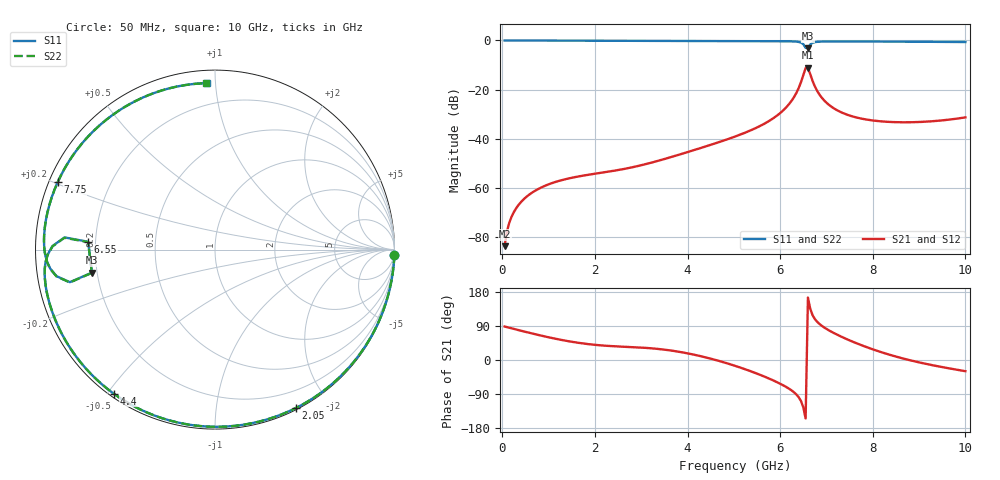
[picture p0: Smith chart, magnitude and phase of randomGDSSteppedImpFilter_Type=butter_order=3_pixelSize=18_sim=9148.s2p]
! freq	dB(S11)	phase(S11)	dB(S12)	phase(S12)
!  dB(S21)	phase(S21)	dB(S22)	phase(S22)
!S-par simulation data
#  GHz  S  DB  R 50
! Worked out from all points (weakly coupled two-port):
!   200 points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, 50 MHz to 10 GHz, reference 50 ohm
!   highest |S21| = -11.15 dB at 6.6 GHz (marker M1); lowest = -83.8 dB at 50 MHz (marker M2)
!   lowest |S11| = -3.1 dB at 6.6 GHz (marker M3), VSWR 5.62, Z = 8.98 - j4.49 ohm
!   |S11| at or under -10 dB: nowhere
!   |S22| runs from -3.1 to 0.0 dB; largest |S21 - S12| = 0
!   S11 on the Smith chart (normalised r, x): 50 MHz: 0, -71; 2.05 GHz: 0.02, -1.64; 4.4 GHz: 0.01, -0.52; 6.55 GHz: 0.17, +0.03; 7.75 GHz: 0.02, +0.21; 10 GHz: 0.07, +0.95
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0.05  -0.00 -1.6  -83.85 88.4  -83.85 88.4  -0.00 -1.6
0.25  -0.01 -8.0  -69.94 82.0  -69.94 82.0  -0.01 -8.0
0.55  -0.02 -17.4  -63.29 72.8  -63.29 72.8  -0.02 -17.4
1.05  -0.04 -33.0  -58.29 58.6  -58.29 58.6  -0.04 -33.0
1.75  -0.07 -54.1  -55.08 43.5  -55.08 43.5  -0.07 -54.1
2.05  -0.08 -62.9  -54.18 39.4  -54.18 39.4  -0.08 -62.9
3.4  -0.12 -99.9  -48.87 28.8  -48.87 28.8  -0.12 -99.8
4.4  -0.17 -125.1  -43.15 6.7  -43.15 6.7  -0.17 -125.0
5.05  -0.20 -140.9  -39.00 -16.3  -39.00 -16.3  -0.20 -140.8
5.7  -0.25 -156.8  -33.50 -45.8  -33.50 -45.8  -0.25 -156.7
6.1  -0.31 -167.3  -27.87 -69.1  -27.87 -69.1  -0.31 -167.2
6.4  -0.60 -178.3  -19.41 -98.2  -19.41 -98.2  -0.60 -178.2
6.5  -1.50 175.4  -14.07 -124.7  -14.07 -124.7  -1.50 175.5
6.55  -3.00 176.5  -11.28 -154.2  -11.28 -154.2  -3.00 176.6
6.6  -3.13 -169.4  -11.15 164.8  -11.15 164.8  -3.12 -169.3
6.7  -0.96 -170.5  -16.49 118.3  -16.49 118.3  -0.96 -170.4
6.85  -0.49 -177.9  -22.09 95.0  -22.09 95.0  -0.49 -177.7
7.05  -0.40 175.6  -26.18 78.4  -26.18 78.4  -0.40 175.7
7.75  -0.41 156.8  -31.84 39.3  -31.84 39.3  -0.41 157.0
8.35  -0.46 140.9  -33.20 14.3  -33.20 14.3  -0.46 141.1
9.25  -0.56 115.7  -32.98 -12.8  -32.98 -12.8  -0.56 115.9
10  -0.65 92.7  -31.36 -29.6  -31.36 -29.6  -0.65 93.0
